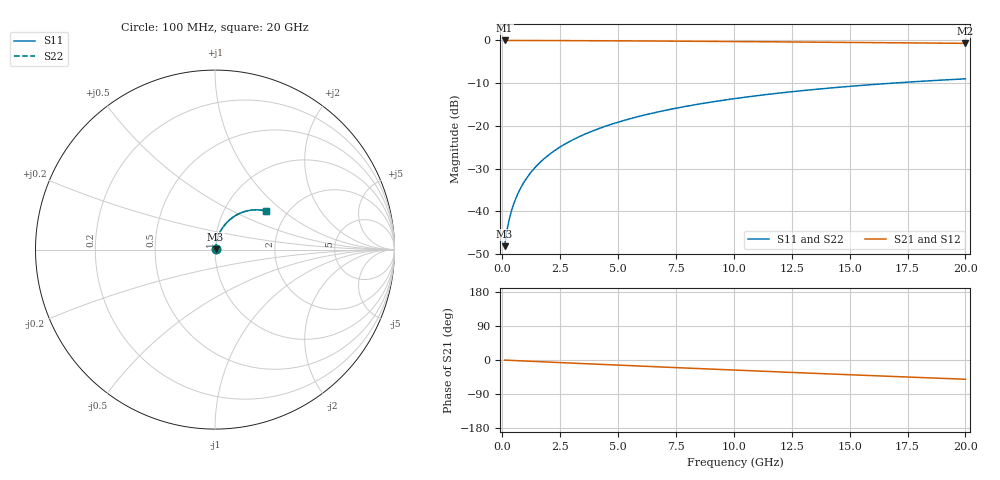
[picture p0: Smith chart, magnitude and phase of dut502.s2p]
! Touchstone file exported from HFSS 2026.1.0
!  File:  C:/ffzhzh/LocalFiles/Ansys_Project_Files/temp_train_BSMRDL_502_1783014251_46388.aedt
!  Generated:  01:45:43 AM Jul  3, 2026
!  Design:  BSMRDL
!  Project:  temp_train_BSMRDL_502_1783014251_46388
! Variables:
!  h_bsmrdl = 4.02um
!  h_ox = 20um
!  h_rdl = 5um
!  h_sub = 80um
!  h_tmrdl = 5um
!  h_tsv = 80um
!  h_via = 3um
!  l_bsmrdl = 811.48um
!  l_sub = 1211.48um
!  l_tmrdl = 200um
!  m_sub = 200um
!  pitch = 47.67um
!  r_tsv = 6um
!  s_tmrdl = 10um
!  w_bsmrdl = 26.89um
!  w_sub = 500um
!  w_tmrdl = 12um
!  x_tsv_center1 = 206um
!  x_tsv_center2 = 1044.37um
!  x_tsv_center3 = 1256.37um
!  x_tsv_center4 = 2094.74um
!  x_tsv_center5 = 2306.74um
!  x_tsv_center6 = 3145.11um
# GHz S MA R 50.000000
! Terminal data exported
! Port[1] = BSM_RDL1_1_T1
! Port[2] = BSM_RDL1_1_T2
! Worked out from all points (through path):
!   200 points, 100 MHz to 20 GHz, reference 50 ohm
!   highest |S21| = -0.03 dB at 100 MHz (marker M1); lowest = -0.7 dB at 20 GHz (marker M2)
!   group delay of S21, straight-line fit = 7.05 ps
!   lowest |S11| = -48.1 dB at 100 MHz (marker M3), VSWR 1.01, Z = 50.3 + j0.263 ohm
!   |S11| at or under -10 dB: start of sweep to 16.87 GHz
!   |S22| runs from -48.1 to -9.0 dB; largest |S21 - S12| = 3.2e-15
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0.1  0.003921 41.7  0.9971 -0.3  0.9971 -0.3  0.003921 41.7
! Gamma 0 0 0 0
! Port Impedance 50 0 50 0
0.2  0.005972 57.4  0.9968 -0.6  0.9968 -0.6  0.005972 57.4
0.3  0.008101 64.5  0.9966 -0.9  0.9966 -0.9  0.008101 64.5
0.4  0.01023 68.7  0.9964 -1.1  0.9964 -1.1  0.01023 68.7
0.5  0.01238 71.5  0.9963 -1.4  0.9963 -1.4  0.01238 71.5
0.6  0.01454 73.5  0.9962 -1.7  0.9962 -1.7  0.01454 73.5
0.8  0.01892 76.1  0.996 -2.2  0.996 -2.2  0.01892 76.1
1.1  0.02556 78.0  0.9957 -3.0  0.9957 -3.0  0.02556 78.0
1.3  0.03002 78.6  0.9955 -3.6  0.9955 -3.6  0.03002 78.6
1.6  0.03671 79.0  0.9951 -4.4  0.9951 -4.4  0.03671 79.0
2.1  0.04785 78.8  0.9944 -5.8  0.9944 -5.8  0.04785 78.8
2.7  0.06111 78.0  0.9932 -7.4  0.9932 -7.4  0.06111 78.0
3.5  0.07857 76.4  0.9914 -9.5  0.9914 -9.5  0.07857 76.4
4.2  0.09359 74.9  0.9896 -11.4  0.9896 -11.4  0.09359 74.9
5  0.1104 73.0  0.9872 -13.6  0.9872 -13.6  0.1104 73.0
5.9  0.129 70.8  0.9843 -15.9  0.9843 -15.9  0.129 70.8
6.8  0.1471 68.6  0.9811 -18.3  0.9811 -18.3  0.1471 68.6
8.3  0.1762 64.9  0.9754 -22.2  0.9754 -22.2  0.1762 64.9
10.1  0.2095 60.5  0.9679 -26.8  0.9679 -26.8  0.2095 60.5
13.4  0.2653 52.6  0.9531 -35.0  0.9531 -35.0  0.2653 52.6
16.7  0.3139 44.9  0.9376 -43.0  0.9376 -43.0  0.3139 44.9
20  0.355 37.3  0.9226 -50.8  0.9226 -50.8  0.355 37.3
